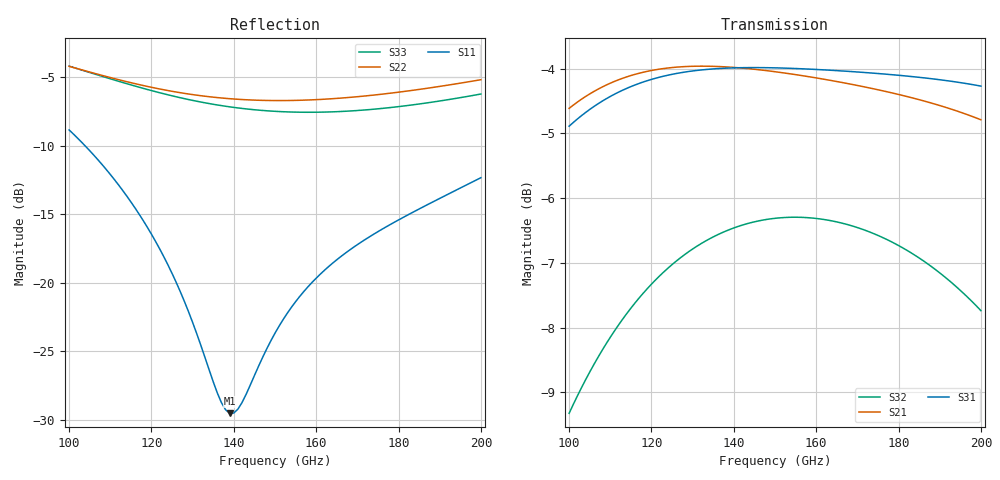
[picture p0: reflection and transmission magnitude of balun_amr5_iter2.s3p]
#  GHZ S DB R 50
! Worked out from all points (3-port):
!   101 points, 100 GHz to 200 GHz, reference 50 ohm
!   strongest paths, dB at 100 GHz, 125 GHz, 150 GHz, 175 GHz, 200 GHz:
!     S31: -4.9, -4.1, -4.0, -4.1, -4.3
!     S21: -4.6, -4.0, -4.0, -4.3, -4.8
!     S32: -9.3, -7.0, -6.3, -6.6, -7.7
!   lowest |S11| = -29.5 dB at 139 GHz (marker M1), VSWR 1.07, Z = 47 + j1.34 ohm
!   |S11| at or under -10 dB: 103.8 GHz to end of sweep
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100  -8.86 124.2  -4.61 -15.3  -4.89 160.8
     -4.61 -15.3  -4.22 59.3  -9.32 88.8
     -4.89 160.8  -9.32 88.8  -4.21 49.3
111  -12.48 110.1  -4.20 -32.8  -4.40 142.3
     -4.20 -32.8  -5.12 49.4  -8.05 71.8
     -4.40 142.3  -8.05 71.8  -5.22 37.7
121  -16.99 102.3  -4.02 -47.7  -4.15 126.5
     -4.02 -47.7  -5.81 41.8  -7.26 57.2
     -4.15 126.5  -7.26 57.2  -6.07 28.7
139  -29.53 154.7  -3.98 -72.3  -3.99 100.3
     -3.98 -72.3  -6.58 29.6  -6.48 32.7
     -3.99 100.3  -6.48 32.7  -7.18 14.8
142  -28.74 -179.3  -3.99 -76.1  -3.99 96.1
     -3.99 -76.1  -6.64 27.6  -6.42 28.8
     -3.99 96.1  -6.42 28.8  -7.29 12.6
150  -23.68 -150.8  -4.05 -86.2  -3.99 85.4
     -4.05 -86.2  -6.72 22.1  -6.31 18.6
     -3.99 85.4  -6.31 18.6  -7.50 6.9
157  -20.64 -146.1  -4.11 -94.9  -4.00 76.2
     -4.11 -94.9  -6.69 17.0  -6.30 10.0
     -4.00 76.2  -6.30 10.0  -7.57 1.8
167  -17.87 -145.9  -4.22 -106.9  -4.04 63.4
     -4.22 -106.9  -6.51 9.3  -6.40 -2.2
     -4.04 63.4  -6.40 -2.2  -7.50 -5.9
184  -14.78 -149.2  -4.46 -127.3  -4.13 41.7
     -4.46 -127.3  -5.95 -5.6  -6.88 -22.7
     -4.13 41.7  -6.88 -22.7  -7.01 -20.4
200  -12.34 -154.5  -4.79 -146.9  -4.27 21.1
     -4.79 -146.9  -5.20 -21.5  -7.74 -42.2
     -4.27 21.1  -7.74 -42.2  -6.24 -35.9
